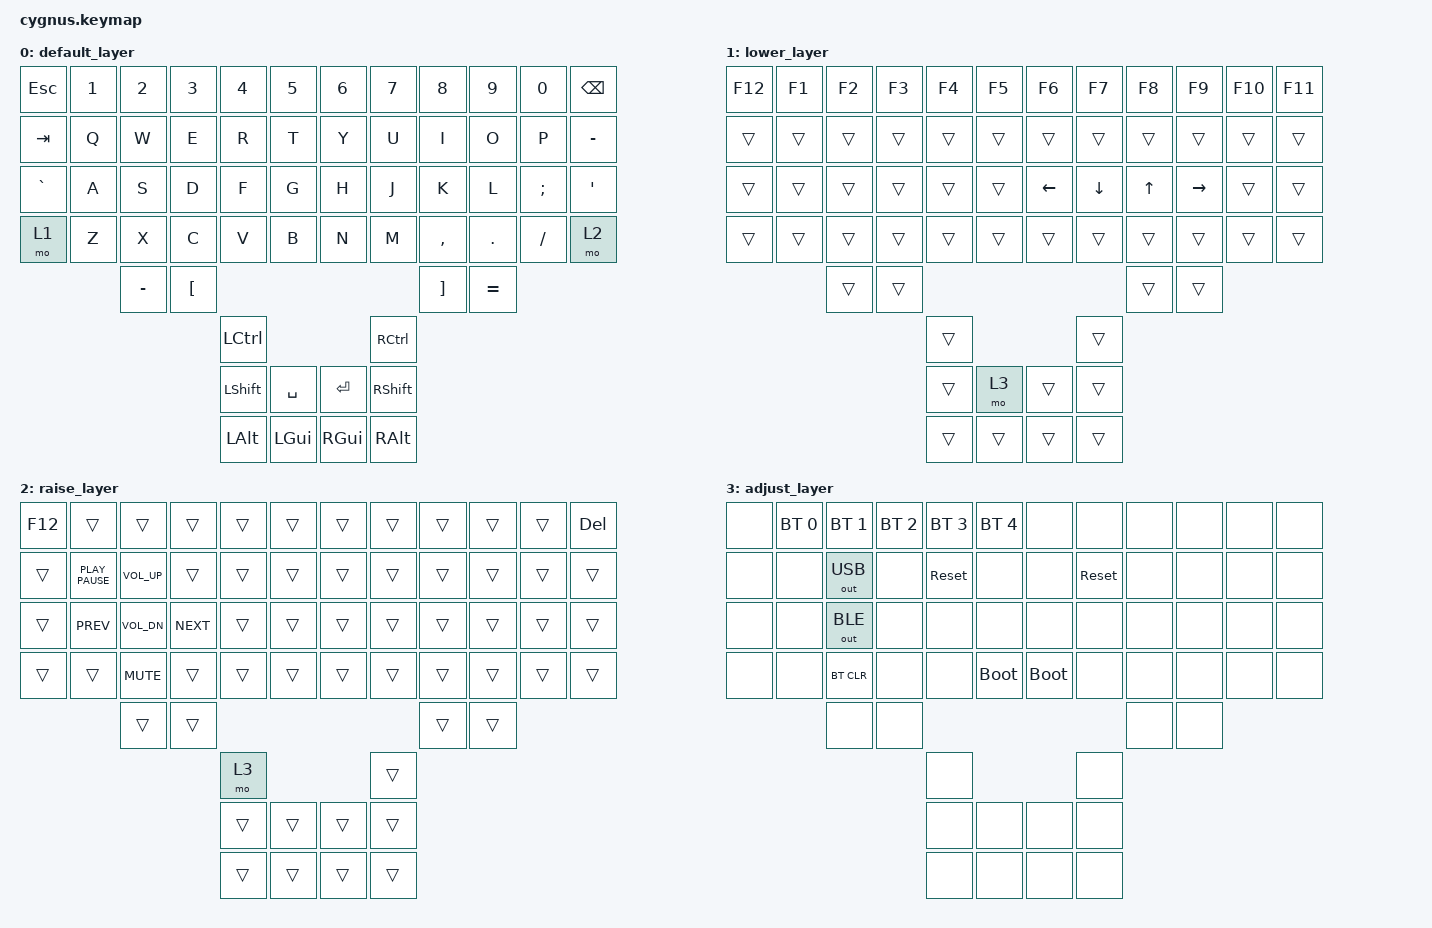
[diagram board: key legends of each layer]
/*
 * Copyright (c) 2020 The ZMK Contributors
 *
 * SPDX-License-Identifier: MIT
 */

#include <behaviors.dtsi>
#include <dt-bindings/zmk/bt.h>
#include <dt-bindings/zmk/keys.h>
#include <dt-bindings/zmk/outputs.h>

&mt {
    tapping-term-ms = <200>;
    flavor = "tap-preferred";
};

&sk {
    release-after-ms = <2000>;
    quick-release;
};

/ {
    combos {
        compatible = "zmk,combos";

        left_bkt {
            bindings = <&kp LBKT>;
            key-positions = <3 2>;
            timeout-ms = <50>;
        };

        right_bkt {
            bindings = <&kp RBKT>;
            key-positions = <6 7>;
            timeout-ms = <50>;
        };

        left_par {
            bindings = <&kp LEFT_PARENTHESIS>;
            key-positions = <12 13>;
            timeout-ms = <50>;
        };

        right_par {
            bindings = <&kp RIGHT_PARENTHESIS>;
            key-positions = <16 17>;
            timeout-ms = <50>;
        };

        left_brace {
            bindings = <&kp LEFT_BRACE>;
            key-positions = <23 22>;
            timeout-ms = <50>;
        };

        right_brace {
            bindings = <&kp RIGHT_BRACE>;
            key-positions = <26 27>;
            timeout-ms = <50>;
        };

        bac {
            bindings = <&kp BACKSLASH>;
            key-positions = <4 5>;
        };

        pipe {
            bindings = <&kp PIPE>;
            key-positions = <14 15>;
        };
    };

    behaviors {
        hm: homerow_mods {
            compatible = "zmk,behavior-hold-tap";
            label = "HOMEROW_MODS";
            #binding-cells = <2>;
            tapping-term-ms = <200>;
            quick_tap_ms = <0>;
            flavor = "tap-preferred";
            bindings = <&kp>, <&kp>;

            quick-tap-ms = <180>;
            global-quick-tap;
        };

        ltq: ltq {
            compatible = "zmk,behavior-hold-tap";
            label = "LTQ";
            #binding-cells = <2>;
            tapping-term-ms = <200>;
            quick_tap_ms = <0>;
            flavor = "hold-preferred";
            bindings = <&mo>, <&kp>;

            quick-tap-ms = <180>;
            global-quick-tap;
        };

        as: as {
            compatible = "zmk,behavior-hold-tap";
            label = "AUTO_SHIFT";
            bindings = <&kp>, <&kp>;

            #binding-cells = <2>;
            tapping-term-ms = <135>;
            quick-tap-ms = <0>;
            flavor = "tap-preferred";
        };
    };

    keymap {
        compatible = "zmk,keymap";

        default_layer {
            bindings = <
&kp ESC    &kp N1  &kp N2     &kp N3    &kp N4     &kp N5       &kp N6    &kp N7     &kp N8     &kp N9     &kp N0    &kp BSPC
&kp TAB    &kp Q   &kp W      &kp E     &kp R      &kp T        &kp Y     &kp U      &kp I      &kp O      &kp P     &kp MINUS
&kp GRAVE  &kp A   &kp S      &kp D     &kp F      &kp G        &kp H     &kp J      &kp K      &kp L      &kp SEMI  &kp SQT
&mo 1      &kp Z   &kp X      &kp C     &kp V      &kp B        &kp N     &kp M      &kp COMMA  &kp DOT    &kp FSLH  &mo 2
                   &kp MINUS  &kp LBKT                                               &kp RBKT   &kp EQUAL
                                        &kp LCTRL                         &kp RCTRL
                                        &kp LSHFT  &kp SPACE    &kp RET   &kp RSHFT
                                        &kp LALT   &kp LGUI     &kp RGUI  &kp RALT
            >;
        };

        lower_layer {
            bindings = <
&kp F12  &kp F1  &kp F2  &kp F3  &kp F4  &kp F5    &kp F6    &kp F7    &kp F8  &kp F9     &kp F10  &kp F11
&trans   &trans  &trans  &trans  &trans  &trans    &trans    &trans    &trans  &trans     &trans   &trans
&trans   &trans  &trans  &trans  &trans  &trans    &kp LEFT  &kp DOWN  &kp UP  &kp RIGHT  &trans   &trans
&trans   &trans  &trans  &trans  &trans  &trans    &trans    &trans    &trans  &trans     &trans   &trans
                 &trans  &trans                                        &trans  &trans
                                 &trans                      &trans
                                 &trans  &mo 3     &trans    &trans
                                 &trans  &trans    &trans    &trans
            >;
        };

        raise_layer {
            bindings = <
&kp F12  &trans            &trans        &trans      &trans  &trans    &trans  &trans  &trans  &trans  &trans  &kp DEL
&trans   &kp K_PLAY_PAUSE  &kp K_VOL_UP  &trans      &trans  &trans    &trans  &trans  &trans  &trans  &trans  &trans
&trans   &kp K_PREV        &kp K_VOL_DN  &kp K_NEXT  &trans  &trans    &trans  &trans  &trans  &trans  &trans  &trans
&trans   &trans            &kp K_MUTE    &trans      &trans  &trans    &trans  &trans  &trans  &trans  &trans  &trans
                           &trans        &trans                                        &trans  &trans
                                                     &mo 3                     &trans
                                                     &trans  &trans    &trans  &trans
                                                     &trans  &trans    &trans  &trans
            >;
        };

        adjust_layer {
            bindings = <
&none  &bt BT_SEL 0  &bt BT_SEL 1  &bt BT_SEL 2  &bt BT_SEL 3  &bt BT_SEL 4    &none        &none       &none  &none  &none  &none
&none  &none         &out OUT_USB  &none         &sys_reset    &none           &none        &sys_reset  &none  &none  &none  &none
&none  &none         &out OUT_BLE  &none         &none         &none           &none        &none       &none  &none  &none  &none
&none  &none         &bt BT_CLR    &none         &none         &bootloader     &bootloader  &none       &none  &none  &none  &none
                     &none         &none                                                                &none  &none
                                                 &none                                      &none
                                                 &none         &none           &none        &none
                                                 &none         &none           &none        &none
            >;
        };
    };
};
